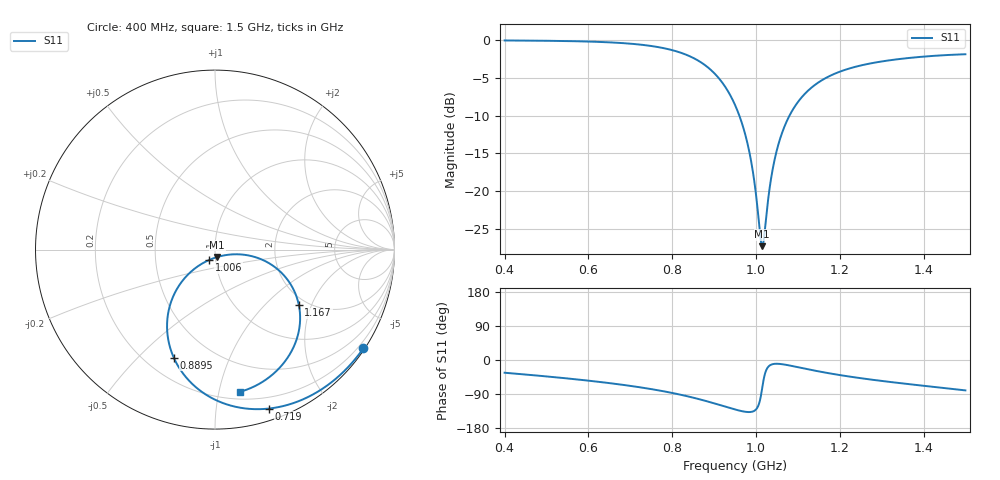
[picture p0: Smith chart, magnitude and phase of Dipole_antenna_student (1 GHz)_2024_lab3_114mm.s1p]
! TOUCHSTONE file generated by CST MICROWAVE STUDIO
! Date and time: Sun Mar 23 14:11:06 2025
! Project name: Dipole_antenna_student (1 GHz)_2024.cst
! Parameters = {dipole_length=114}
! Header version: 2024
! Port assignment regex: !\s*Touchstone port\s*([0-9]+)\s*=\s*(CST MWS port|CST DES external port|CST DES block port)\s*(.+)\s* \(\"(.*)\"\)(\s*mode\s*([0-9]+))?.*
! Touchstone port assignment:
! Touchstone port 1 = CST MWS port 1 ("")
# GHz S MA R 50
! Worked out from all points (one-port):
!   1011 points, 400 MHz to 1.5 GHz, reference 50 ohm
!   lowest |S11| = -27.3 dB at 1.015 GHz (marker M1), VSWR 1.09, Z = 51 - j4.25 ohm
!   |S11| at or under -10 dB: 960.2 MHz to 1.08 GHz (120 MHz wide, 11.8 % of centre)
!   S11 on the Smith chart (normalised r, x): 400 MHz: 0.04, -3.31; 719 MHz: 0.10, -1.39; 889.5 MHz: 0.31, -0.64; 1.006 GHz: 0.93, -0.11; 1.167 GHz: 1.81, -1.63; 1.5 GHz: 0.26, -1.15
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0.4  0.9929 -33.6
0.5375  0.9849 -47.3
0.5991  0.9767 -54.4
0.675  0.9564 -64.5
0.719  0.935 -71.3
0.7696  0.8943 -80.5
0.8125  0.8376 -89.8
0.8521  0.7565 -99.9
0.8895  0.644 -110.9
0.9214  0.5141 -121.3
0.95  0.3718 -130.6
0.9687  0.2692 -135.6
0.9841  0.1823 -137.4
0.9984  0.1037 -132.3
1.0061  0.06623 -119.3
1.0105  0.05003 -102.1
1.0149  0.04315 -74.4
1.0193  0.0492 -46.4
1.0336  0.109 -13.9
1.0468  0.1721 -9.9
1.0644  0.2515 -11.4
1.0875  0.3438 -16.1
1.1216  0.4542 -23.9
1.1667  0.5602 -33.5
1.225  0.6501 -44.0
1.3009  0.7215 -55.3
1.3625  0.7589 -63.4
1.5  0.8046 -80.2
